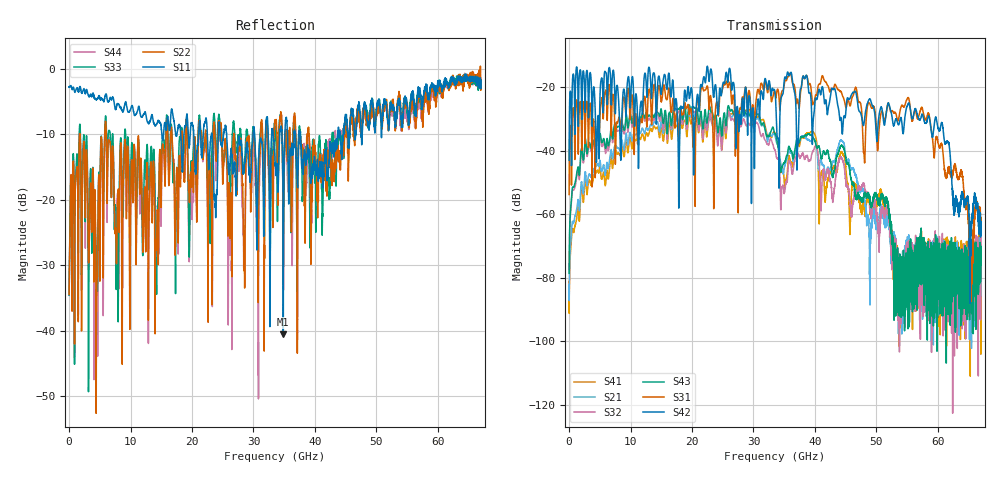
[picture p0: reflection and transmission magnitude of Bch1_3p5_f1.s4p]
!Agilent Technologies,N5247A,US51170199,A.09.90.13
!Agilent N5247A: A.09.90.13
!Date: Thursday, October 18, 2018 13:14:33
!Correction: S11(Full 4 Port(1,2,3,4))
!S12(Full 4 Port(1,2,3,4))
!S13(Full 4 Port(1,2,3,4))
!S14(Full 4 Port(1,2,3,4))
!S21(Full 4 Port(1,2,3,4))
!S22(Full 4 Port(1,2,3,4))
!S23(Full 4 Port(1,2,3,4))
!S24(Full 4 Port(1,2,3,4))
!S31(Full 4 Port(1,2,3,4))
!S32(Full 4 Port(1,2,3,4))
!S33(Full 4 Port(1,2,3,4))
!S34(Full 4 Port(1,2,3,4))
!S41(Full 4 Port(1,2,3,4))
!S42(Full 4 Port(1,2,3,4))
!S43(Full 4 Port(1,2,3,4))
!S44(Full 4 Port(1,2,3,4))
!S4P File: Measurements: <S11,S12,S13,S14>,
!<S21,S22,S23,S24>,
!<S31,S32,S33,S34>,
!<S41,S42,S43,S44>:
# Hz S  dB  R 50
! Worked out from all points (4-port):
!   6701 points, 10 MHz to 67 GHz, reference 50 ohm
!   strongest paths, dB at 10 MHz, 16.76 GHz, 33.51 GHz, 50.25 GHz, 67 GHz:
!     S42: -43.0, -19.6, -21.5, -32.4, -62.7
!     S31: -53.8, -26.5, -21.8, -39.1, -63.9
!     S43: -78.7, -30.5, -34.8, -54.9, -75.5
!     S32: -77.4, -31.7, -39.8, -64.2, -72.9
!     S21: -82.8, -32.9, -35.3, -62.8, -73.6
!     S41: -81.2, -35.6, -34.4, -55.2, -79.8
!   lowest |S11| = -40.5 dB at 34.85 GHz (marker M1), VSWR 1.02, Z = 49.3 - j0.633 ohm
!   |S11| at or under -10 dB: 25.64 GHz to 29.93 GHz (4.296 GHz wide, 15.5 % of centre); 30.18 GHz to 31.97 GHz (1.79 GHz wide, 5.76 % of centre); 37.59 GHz to 43.71 GHz (6.124 GHz wide, 15.1 % of centre)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
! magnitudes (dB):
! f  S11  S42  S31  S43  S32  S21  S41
! 10 MHz  -2.8  -43.0  -53.8  -78.7  -77.4  -82.8  -81.2
! 2.37 GHz  -3.1  -15.2  -24.9  -42.8  -43.6  -53.2  -55.9
! 10.12 GHz  -5.9  -19.6  -23.4  -30.0  -31.0  -36.0  -38.0
! 34.85 GHz  -40.5  -21.4  -20.8  -44.1  -51.5  -47.3  -46.4
! 44.4 GHz  -12.6  -33.8  -22.2  -38.5  -42.4  -36.9  -40.8
! 59.73 GHz  -3.4  -29.8  -35.7  -76.9  -77.2  -71.5  -81.9
! 67 GHz  -3.0  -62.7  -63.9  -75.5  -72.9  -73.6  -79.8
